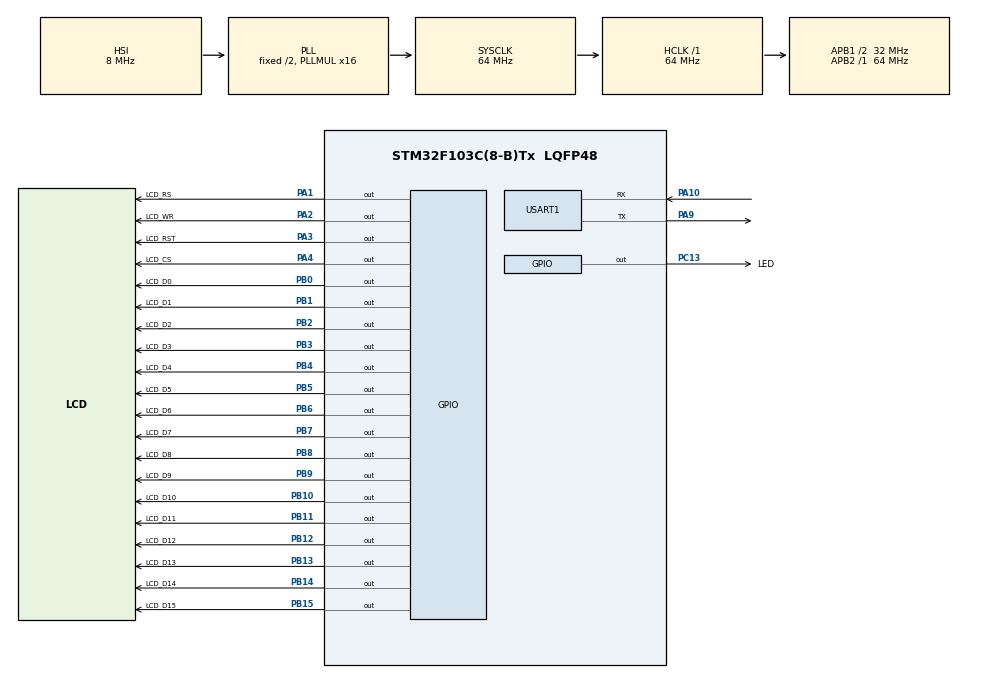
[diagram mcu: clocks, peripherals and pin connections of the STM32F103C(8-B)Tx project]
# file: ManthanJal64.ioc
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Mcu.Family=STM32F1
Mcu.Name=STM32F103C(8-B)Tx
Mcu.Package=LQFP48
NVIC.PriorityGroup=NVIC_PRIORITYGROUP_4
NVIC.USART1_IRQn=true\:0\:0\:false\:false\:true\:true\:true
PA1.GPIO_Label=LCD_RS
PA1.GPIO_Speed=GPIO_SPEED_FREQ_HIGH
PA1.Signal=GPIO_Output
PA10.Mode=Asynchronous
PA10.Signal=USART1_RX
PA13.Mode=Serial_Wire
PA13.Signal=SYS_JTMS-SWDIO
PA14.Mode=Serial_Wire
PA14.Signal=SYS_JTCK-SWCLK
PA2.GPIO_Label=LCD_WR
PA2.GPIO_Speed=GPIO_SPEED_FREQ_HIGH
PA2.Signal=GPIO_Output
PA3.GPIO_Label=LCD_RST
PA3.GPIO_Speed=GPIO_SPEED_FREQ_HIGH
PA3.Signal=GPIO_Output
PA4.GPIO_Label=LCD_CS
PA4.GPIO_Speed=GPIO_SPEED_FREQ_HIGH
PA4.Signal=GPIO_Output
PA9.Mode=Asynchronous
PA9.Signal=USART1_TX
PB0.GPIO_Label=LCD_D0
PB0.GPIO_Speed=GPIO_SPEED_FREQ_HIGH
PB0.Signal=GPIO_Output
PB1.GPIO_Label=LCD_D1
PB1.GPIO_Speed=GPIO_SPEED_FREQ_HIGH
PB1.Signal=GPIO_Output
PB10.GPIO_Label=LCD_D10
PB10.GPIO_Speed=GPIO_SPEED_FREQ_HIGH
PB10.Signal=GPIO_Output
PB11.GPIO_Label=LCD_D11
PB11.GPIO_Speed=GPIO_SPEED_FREQ_HIGH
PB11.Signal=GPIO_Output
PB12.GPIO_Label=LCD_D12
PB12.GPIO_Speed=GPIO_SPEED_FREQ_HIGH
PB12.Signal=GPIO_Output
PB13.GPIO_Label=LCD_D13
PB13.GPIO_Speed=GPIO_SPEED_FREQ_HIGH
PB13.Signal=GPIO_Output
PB14.GPIO_Label=LCD_D14
PB14.GPIO_Speed=GPIO_SPEED_FREQ_HIGH
PB14.Signal=GPIO_Output
PB15.GPIO_Label=LCD_D15
PB15.GPIO_Speed=GPIO_SPEED_FREQ_HIGH
PB15.Signal=GPIO_Output
PB2.GPIO_Label=LCD_D2
PB2.GPIO_Speed=GPIO_SPEED_FREQ_HIGH
PB2.Signal=GPIO_Output
PB3.GPIO_Label=LCD_D3
PB3.GPIO_Speed=GPIO_SPEED_FREQ_HIGH
PB3.Signal=GPIO_Output
PB4.GPIO_Label=LCD_D4
PB4.GPIO_Speed=GPIO_SPEED_FREQ_HIGH
PB4.Signal=GPIO_Output
PB5.GPIO_Label=LCD_D5
PB5.GPIO_Speed=GPIO_SPEED_FREQ_HIGH
PB5.Signal=GPIO_Output
PB6.GPIO_Label=LCD_D6
PB6.GPIO_Speed=GPIO_SPEED_FREQ_HIGH
PB6.Signal=GPIO_Output
PB7.GPIO_Label=LCD_D7
PB7.GPIO_Speed=GPIO_SPEED_FREQ_HIGH
PB7.Signal=GPIO_Output
PB8.GPIO_Label=LCD_D8
PB8.GPIO_Speed=GPIO_SPEED_FREQ_HIGH
PB8.Signal=GPIO_Output
PB9.GPIO_Label=LCD_D9
PB9.GPIO_Speed=GPIO_SPEED_FREQ_HIGH
PB9.Signal=GPIO_Output
PC13-TAMPER-RTC.GPIO_Label=LED
PC13-TAMPER-RTC.GPIO_Speed=GPIO_SPEED_FREQ_HIGH
PC13-TAMPER-RTC.Signal=GPIO_Output
ProjectManager.HeapSize=0x200
ProjectManager.StackSize=0x400
ProjectManager.TargetToolchain=STM32CubeIDE
RCC.AHBFreq_Value=64000000
RCC.APB1CLKDivider=RCC_HCLK_DIV2
RCC.APB1Freq_Value=32000000
RCC.APB1TimFreq_Value=64000000
RCC.APB2Freq_Value=64000000
RCC.APB2TimFreq_Value=64000000
RCC.HCLKFreq_Value=64000000
RCC.HSEDivPLL=RCC_HSE_PREDIV_DIV2
RCC.HSE_VALUE=16000000
RCC.PLLMUL=RCC_PLL_MUL16
RCC.SYSCLKFreq_VALUE=64000000
RCC.SYSCLKSource=RCC_SYSCLKSOURCE_PLLCLK
RCC.USBFreq_Value=64000000
USART1.VirtualMode=VM_ASYNC
board=custom

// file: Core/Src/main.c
/* USER CODE BEGIN Header */
/**
  ******************************************************************************
  * @file           : main.c
  * @brief          : Main program body
  ******************************************************************************
  * @attention
  *
  * <h2><center>&copy; Copyright (c) 2021 STMicroelectronics.
  * All rights reserved.</center></h2>
  *
  * This software component is licensed by ST under BSD 3-Clause license,
  * the "License"; You may not use this file except in compliance with the
  * License. You may obtain a copy of the License at:
  *                        opensource.org/licenses/BSD-3-Clause
  *
  ******************************************************************************
  */
/* USER CODE END Header */
#include "main.h"

/* USER CODE BEGIN Includes */
#include "lcd.h"
#include "gfx.h"
#include "../Fonts/FreeMonoBold18pt7b.h"
#include <math.h>

const unsigned char gImage_testImg[3208] = { 0X00,0X10,0X28,0X00,0X28,0X00,0X01,0X1B,
0XFF,0XFF,0XFF,0XFF,0XFF,0XFF,0XFF,0XFF,0XFF,0XFF,0XFF,0XFF,0XFF,0XFF,0XFF,0XFF,
0XFF,0XFF,0XDF,0XFF,0XFF,0XFF,0XFF,0XFF,0XFF,0XFF,0XFF,0XFF,0XFF,0XFF,0XFF,0XFF,
0XFF,0XFF,0XDE,0XFF,0XEF,0X7B,0X48,0X42,0XDF,0XFF,0XFF,0XFF,0XFF,0XFF,0XFF,0XFF,
0XFF,0XFF,0XFF,0XFF,0XFF,0XFF,0XFF,0XFF,0XFF,0XFF,0XFF,0XFF,0XFF,0XFF,0XFF,0XFF,
0XFF,0XFF,0XFF,0XFF,0XFF,0XFF,0XFF,0XFF,0XFF,0XFF,0XFF,0XFF,0XFF,0XFF,0XFF,0XFF,
0XFF,0XFF,0XFF,0XFF,0XFF,0XFF,0XFF,0XFF,0XFF,0XFF,0XFF,0XFF,0XFF,0XFF,0XFF,0XFF,
0XFF,0XFF,0XFF,0XFF,0XDF,0XFF,0XFF,0XFF,0XFF,0XFF,0XFF,0XFF,0XFF,0XFF,0XFF,0XFF,
0XF8,0XC5,0X18,0XC6,0X20,0X00,0X41,0X00,0X51,0X8C,0XFF,0XFF,0XFF,0XFF,0XFF,0XFF,
0XFF,0XFF,0XFF,0XFF,0XFF,0XFF,0XFF,0XFF,0XFF,0XFF,0XFF,0XFF,0XFF,0XFF,0XFF,0XFF,
0XFF,0XFF,0XFF,0XFF,0XFF,0XFF,0XFF,0XFF,0XFF,0XFF,0XFF,0XFF,0XFF,0XFF,0XFF,0XFF,
0XFF,0XFF,0XFF,0XFF,0XFF,0XFF,0XFF,0XFF,0XFF,0XFF,0XFF,0XFF,0XFF,0XFF,0XFF,0XFF,
0XFF,0XFF,0XDF,0XFF,0XFF,0XFF,0XFF,0XFF,0XFF,0XFF,0XFF,0XFF,0XFF,0XFF,0XFF,0XFF,
0X18,0XC6,0X18,0XBE,0X41,0X00,0X62,0X00,0X92,0X8C,0XFF,0XFF,0XDF,0XFF,0XFF,0XFF,
0XFF,0XFF,0XFF,0XFF,0XFF,0XFF,0XFF,0XFF,0XDF,0XFF,0XFF,0XFF,0XFF,0XFF,0XFF,0XFF,
0XFF,0XFF,0XFF,0XFF,0XFF,0XFF,0XFF,0XFF,0XFF,0XFF,0XFF,0XFF,0XFF,0XFF,0XFF,0XFF,
0XFF,0XFF,0XFF,0XFF,0XFF,0XFF,0XFF,0XFF,0XFF,0XFF,0XFF,0XFF,0XFF,0XFF,0XFF,0XFF,
0XFF,0XFF,0XFF,0XFF,0XFF,0XFF,0XFF,0XFF,0XDF,0XFF,0XFF,0XFF,0XFF,0XFF,0X9E,0XF7,
0X24,0X21,0X25,0X19,0X8B,0X3A,0X32,0X74,0X42,0X00,0XBB,0XD6,0X9A,0XD6,0XFF,0XFF,
0XFF,0XFF,0XFF,0XFF,0XFF,0XFF,0XFF,0XFF,0XFF,0XFF,0XFF,0XFF,0XFF,0XFF,0XFF,0XFF,
0XFF,0XFF,0XFF,0XFF,0XFF,0XFF,0XFF,0XFF,0XFF,0XFF,0XFF,0XFF,0XFF,0XFF,0XFE,0XFF,
0XFF,0XFF,0XFF,0XFF,0XFF,0XFF,0XFF,0XFF,0XFF,0XFF,0XFF,0XFF,0XFF,0XFF,0XFF,0XFF,
0XFF,0XFF,0XFF,0XFF,0XFF,0XFF,0XFF,0XFF,0XFF,0XFF,0XFF,0XFF,0XFF,0XFF,0X6D,0X6B,
0XE4,0X10,0X05,0X09,0XBD,0XAE,0XDE,0XB6,0XE9,0X29,0XA7,0X29,0XC7,0X39,0XDF,0XFF,
0XFF,0XFF,0XFF,0XFF,0XFF,0XFF,0XFF,0XFF,0XFF,0XFF,0XFF,0XFF,0XFF,0XFF,0XFF,0XFF,
0XFF,0XFF,0XFF,0XFF,0XFF,0XFF,0XFF,0XFF,0XFF,0XFF,0XFF,0XFF,0XFF,0XFF,0XFE,0XFF,
0XFF,0XFF,0XFF,0XFF,0XFF,0XFF,0XFF,0XFF,0XFF,0XFF,0XFF,0XFF,0XFF,0XFF,0XFF,0XFF,
0XFF,0XFF,0XFF,0XFF,0XFF,0XFF,0XFF,0XFF,0XFF,0XFF,0XDF,0XFF,0X18,0XC6,0X00,0X00,
0XF5,0X84,0X16,0X7D,0XDE,0XAE,0XDE,0XAE,0X5B,0XA6,0XA4,0X00,0X62,0X00,0X51,0X84,
0XFF,0XFF,0XFF,0XFF,0XFF,0XFF,0XFF,0XFF,0XFF,0XFF,0XFF,0XFF,0XDF,0XFF,0XFF,0XFF,
0XFF,0XFF,0XFF,0XFF,0XFF,0XFF,0XFF,0XFF,0XFF,0XFF,0XFF,0XFF,0XFF,0XFF,0XFE,0XFF,
0XFF,0XFF,0XFF,0XFF,0XFF,0XFF,0XFF,0XFF,0XFF,0XFF,0XFF,0XFF,0XFF,0XFF,0XFF,0XFF,
0XFF,0XFF,0XFF,0XFF,0XFF,0XFF,0XDF,0XFF,0XFF,0XFF,0X9E,0XEF,0X04,0X19,0XED,0X4A,
0XDD,0XB6,0XFF,0XAE,0X1F,0XAF,0XDF,0XA6,0XFE,0XAE,0X73,0X6C,0X72,0X74,0X41,0X00,
0XBA,0XD6,0XFF,0XFF,0XFF,0XFF,0XFF,0XFF,0X51,0X94,0X30,0X8C,0XFF,0XFF,0XFF,0XFF,
0XFF,0XFF,0XFF,0XFF,0XFF,0XFF,0XFF,0XFF,0XFF,0XFF,0XFF,0XFF,0XFF,0XFF,0XFF,0XFF,
0XFF,0XFF,0XFF,0XFF,0XFF,0XFF,0XFF,0XFF,0XFF,0XFF,0XFF,0XFF,0XFF,0XFF,0XFF,0XFF,
0XFF,0XFF,0XFF,0XFF,0XFF,0XFF,0XFF,0XFF,0XDF,0XFF,0XBF,0XF7,0X05,0X09,0X0E,0X43,
0XFF,0XAE,0XFF,0XA6,0X1F,0XA7,0XFF,0XA6,0XFF,0XAE,0X74,0X5C,0X53,0X64,0X63,0X00,
0XBB,0XCE,0XFF,0XFF,0XFF,0XFF,0XFF,0XFF,0X51,0X8C,0XB2,0X94,0XFF,0XFF,0XFF,0XFF,
0XFF,0XFF,0XFF,0XFF,0XFF,0XFF,0XFF,0XFF,0XFF,0XFF,0XFF,0XFF,0XFF,0XFF,0XFF,0XFF,
0XFF,0XFF,0XFF,0XFF,0XFF,0XFF,0XFF,0XFF,0XFF,0XFF,0XFF,0XFF,0XFF,0XFF,0XFF,0XFF,
0XFF,0XFF,0XDF,0XFF,0XFF,0XFF,0XFF,0XFF,0XFF,0XFF,0X0D,0X53,0X26,0X09,0X9C,0XA6,
0X1F,0XA7,0XFF,0X9E,0X3F,0XA7,0XFF,0XA6,0X1F,0XA7,0XFE,0XA6,0XFE,0XAE,0X4B,0X22,
0XA7,0X21,0XFF,0XFF,0XF8,0XBD,0X18,0XBE,0X42,0X00,0X22,0X00,0X39,0XC6,0XFF,0XFF,
0XFE,0XFF,0XDE,0XFF,0XFF,0XFF,0XFF,0XFF,0XFF,0XFF,0XFF,0XFF,0XFF,0XFF,0XFF,0XFF,
0XFF,0XFF,0XFF,0XFF,0XFF,0XFF,0XFF,0XFF,0XFF,0XFF,0XFF,0XFF,0XFF,0XFF,0XFF,0XFF,
0XFF,0XFF,0XFF,0XFF,0XFF,0XFF,0X95,0XB5,0XB7,0XB5,0X42,0X00,0X57,0X85,0X1E,0XAF,
0X1F,0XA7,0X1F,0XA7,0X1F,0XA7,0X1F,0XA7,0X3F,0XAF,0XFE,0XA6,0X1F,0XA7,0X5B,0X9E,
0XA3,0X00,0XCF,0X6B,0X05,0X19,0X26,0X11,0XEB,0X19,0XAA,0X11,0X67,0X21,0XBE,0XFF,
0XBD,0XFF,0XFE,0XFF,0XDF,0XFF,0XFF,0XFF,0XFF,0XFF,0XFF,0XFF,0XDF,0XFF,0XFF,0XFF,
0XFF,0XFF,0XFF,0XFF,0XFF,0XFF,0XFF,0XFF,0XFF,0XFF,0XFF,0XFF,0XFF,0XFF,0XFF,0XFF,
0XDF,0XFF,0XFF,0XFF,0X5D,0XF7,0XE3,0X18,0X04,0X11,0X2E,0X4B,0XFE,0XAE,0X1F,0XA7,
0X1E,0XA7,0X1F,0XA7,0X1F,0XA7,0XFF,0XA6,0XFE,0X9E,0X1F,0XA7,0X1F,0XA7,0XDE,0XA6,
0X93,0X74,0X21,0X00,0XA4,0X00,0XC6,0X00,0X57,0X4C,0X97,0X5C,0X85,0X00,0X8E,0X6B,
0XAE,0X73,0XFF,0XFF,0XFF,0XFF,0XFF,0XFF,0XFF,0XFF,0XDF,0XFF,0XFF,0XFF,0XFF,0XFF,
0XFF,0XFF,0XFF,0XFF,0XFF,0XFF,0XFF,0XFF,0XFF,0XFF,0XFF,0XFF,0XFF,0XFF,0XFF,0XFF,
0XFF,0XFF,0XFF,0XFF,0X0C,0X63,0X04,0X19,0X26,0X09,0XBC,0XAE,0XFE,0XA6,0X1F,0XA7,
0XFE,0XA6,0X1F,0XAF,0X1F,0XA7,0XFF,0XA6,0X1F,0XA7,0X1F,0XA7,0X1F,0XA7,0X3F,0XAF,
0X16,0X85,0X63,0X00,0X30,0X4B,0X73,0X3B,0XBA,0X4C,0X9A,0X4C,0X31,0X43,0X43,0X00,
0X21,0X00,0X38,0XC6,0XDF,0XFF,0XFF,0XFF,0XDF,0XFF,0XFF,0XFF,0XFF,0XFF,0XFF,0XFF,
0XFF,0XFF,0XFF,0XFF,0XFF,0XFF,0XFF,0XFF,0XFF,0XFF,0XFF,0XFF,0XFF,0XFF,0XFF,0XFF,
0XFF,0XFF,0XFF,0XFF,0XED,0X52,0X26,0X11,0X47,0X01,0XDD,0XAE,0X1F,0XA7,0X1F,0XA7,
0X1E,0XA7,0X1E,0XAF,0XFE,0XA6,0X1F,0XA7,0X1F,0XA7,0XFF,0X9E,0X1F,0XA7,0XDE,0XA6,
0X37,0X85,0X24,0X00,0X52,0X3B,0X95,0X33,0XBC,0X44,0XDB,0X4C,0X53,0X33,0X45,0X00,
0X23,0X00,0X5A,0XBE,0XFF,0XFF,0XFF,0XFF,0XFF,0XFF,0XFF,0XFF,0XDF,0XFF,0XFF,0XFF,
0XFF,0XFF,0XFF,0XFF,0XFF,0XFF,0XFF,0XFF,0XFF,0XFF,0XFF,0XFF,0XFF,0XFF,0XFF,0XFF,
0XFF,0XFF,0XB7,0XAD,0X22,0X00,0X57,0X85,0X78,0X7D,0XFF,0XAE,0X1F,0XA7,0XFF,0XA6,
0X1F,0XA7,0X1F,0XAF,0XFE,0XA6,0XFF,0XA6,0X3F,0XA7,0XFF,0X9E,0X1F,0XAF,0XBD,0XA6,
0X08,0X01,0X2D,0X1A,0XBA,0X5C,0XBB,0X4C,0XDC,0X44,0XBC,0X44,0X9A,0X54,0XEE,0X09,
0XEC,0X19,0XE6,0X00,0XBF,0XE7,0XFF,0XFF,0XFF,0XFF,0XFF,0XFF,0XFF,0XFF,0XFF,0XFF,
0XFF,0XFF,0XFF,0XFF,0XFF,0XFF,0XFF,0XFF,0XFF,0XFF,0XFF,0XFF,0XFE,0XFF,0XFF,0XFF,
0X7D,0XEF,0XE4,0X10,0X2F,0X4B,0XFE,0XB6,0XFF,0XA6,0XFF,0XA6,0XFF,0XA6,0X1F,0XAF,
0XFF,0XA6,0XFF,0XA6,0X1F,0XA7,0XFF,0XA6,0XFF,0X9E,0X3F,0XAF,0XFE,0XAE,0X0E,0X33,
0XE7,0X00,0X57,0X54,0X9A,0X54,0XBC,0X4C,0XBB,0X44,0X9B,0X44,0XBC,0X4C,0X59,0X4C,
0X36,0X54,0XC6,0X00,0XD0,0X6B,0XFF,0XFF,0XFF,0XFF,0XFE,0XFF,0XFF,0XFF,0XFF,0XFF,
0XFF,0XFF,0XFF,0XFF,0XFF,0XFF,0XFF,0XFF,0XFF,0XFF,0XFF,0XFF,0XFE,0XFF,0XFF,0XFF,
0XEB,0X52,0X26,0X11,0X9D,0XAE,0XFF,0XAE,0X1F,0XA7,0X1F,0XA7,0XFF,0XA6,0XFF,0XA6,
0XFF,0XA6,0X1F,0XA7,0X1F,0XA7,0X1F,0XA7,0X1F,0XA7,0X3B,0X8E,0XF9,0X9D,0X64,0X00,
0X31,0X3B,0X16,0X4C,0X7A,0X4C,0XBC,0X4C,0XDC,0X4C,0X9B,0X44,0XDD,0X4C,0X9C,0X4C,
0XBA,0X54,0X11,0X33,0X63,0X00,0X5D,0XE7,0XFF,0XFF,0XFE,0XFF,0XFF,0XFF,0XFF,0XFF,
0XFF,0XFF,0XFF,0XFF,0XFF,0XFF,0XFF,0XFF,0XFE,0XFF,0XFE,0XFF,0X95,0XB5,0X76,0XAD,
0X42,0X00,0X57,0X8D,0XDE,0XAE,0XFF,0XA6,0X1F,0XA7,0X1F,0XA7,0X1F,0XA7,0XFF,0XA6,
0XFF,0XA6,0X1F,0XA7,0X1F,0XA7,0X1F,0XA7,0X1E,0XA7,0X73,0X5C,0X31,0X6C,0XC4,0X00,
0X10,0X43,0X88,0X00,0X9A,0X54,0XDC,0X4C,0XBC,0X4C,0XBC,0X4C,0X9C,0X44,0XBD,0X4C,
0XBC,0X4C,0XB9,0X54,0XC6,0X00,0X14,0X9D,0XFF,0XFF,0XFF,0XFF,0XFF,0XFF,0XFF,0XFF,
0XFF,0XFF,0XFF,0XFF,0XFF,0XFF,0XFF,0XFF,0XFF,0XFF,0XFE,0XFF,0X75,0XAD,0X96,0XAD,
0X42,0X00,0XB9,0X8D,0XFE,0XAE,0X3F,0XAF,0XFE,0X9E,0X3F,0XA7,0XFF,0XA6,0X1F,0XA7,
0XFF,0XA6,0X1F,0XA7,0XFF,0X9E,0X3F,0XA7,0X3F,0XA7,0X32,0X5C,0X32,0X6C,0XC4,0X08,
0X0F,0X4B,0X87,0X00,0X9A,0X54,0X9B,0X44,0XBC,0X44,0XBC,0X44,0XBD,0X44,0XBD,0X44,
0X9C,0X3C,0X99,0X4C,0XC6,0X00,0X35,0XA5,0XFF,0XFF,0XFF,0XFF,0XFF,0XFF,0XFF,0XFF,
0XFF,0XFF,0XFF,0XFF,0XFF,0XFF,0XFF,0XFF,0XFF,0XFF,0X9D,0XEF,0XE3,0X18,0XC4,0X10,
0X2F,0X4B,0XDE,0XAE,0XFF,0XAE,0XFE,0XA6,0X1F,0XA7,0XFE,0XA6,0XFF,0XA6,0X1F,0XA7,
0X1F,0XAF,0X1F,0XA7,0X3F,0XA7,0XFF,0X9E,0X1F,0XAF,0X6F,0X43,0X0D,0X43,0X87,0X19,
0X6C,0X32,0X09,0X01,0X7A,0X4C,0XFD,0X4C,0XDC,0X44,0XDC,0X44,0XBC,0X3C,0XDC,0X44,
0XDC,0X44,0XBA,0X5C,0X48,0X11,0XF0,0X73,0XFF,0XFF,0XFF,0XFF,0XFF,0XFF,0XFF,0XFF,
0XFF,0XFF,0XDF,0XFF,0XFF,0XFF,0XFF,0XFF,0XFF,0XFF,0X51,0X84,0XC3,0X10,0XE4,0X08,
0X9C,0XB6,0X17,0X7D,0X0F,0X33,0XFE,0XA6,0XFE,0XA6,0X1F,0XA7,0XFF,0XA6,0XFF,0XA6,
0XDE,0X9E,0X1F,0XA7,0X1F,0X9F,0X1F,0X9F,0XFE,0XA6,0XB1,0X43,0XD1,0X5B,0X26,0X09,
0X30,0X4B,0X26,0X00,0X38,0X4C,0X39,0X3C,0X9B,0X44,0XBC,0X44,0XFC,0X44,0XBB,0X3C,
0XBB,0X4C,0X78,0X54,0X07,0X09,0X72,0X8C,0XFF,0XFF,0XFF,0XFF,0XFF,0XFF,0XFF,0XFF,
0XFF,0XFF,0XFF,0XFF,0XFF,0XFF,0XFF,0XFF,0XFF,0XFF,0X04,0X19,0XAF,0X63,0X90,0X5B,
0X9C,0XB6,0X06,0X01,0X2F,0X33,0X1F,0XAF,0XFF,0XA6,0XFF,0XA6,0X1F,0XA7,0X1F,0XA7,
0X1F,0XA7,0X1F,0XA7,0X1E,0X9F,0X3F,0XA7,0X3F,0XA7,0X78,0X7D,0X37,0X8D,0X44,0X00,
0XD4,0X5B,0X6B,0X01,0XE9,0X00,0X0B,0X01,0X58,0X4C,0X59,0X44,0XBC,0X4C,0X9B,0X4C,
0XBA,0X54,0XD4,0X4B,0X02,0X00,0X7A,0XCE,0XFF,0XFF,0XFF,0XFF,0XFF,0XFF,0XFF,0XFF,
0XFF,0XFF,0XDF,0XFF,0XFF,0XFF,0XFF,0XFF,0XDB,0XD6,0X21,0X00,0XF9,0XA5,0XF9,0X9D,
0X73,0X74,0X84,0X00,0X9D,0X9E,0X1F,0XA7,0XDF,0X9E,0X1F,0XA7,0X1F,0XA7,0XFF,0XA6,
0X1F,0XA7,0XFE,0X9E,0X3F,0XA7,0X1E,0XA7,0XFE,0XA6,0XFF,0XAE,0XDE,0XB6,0XAA,0X19,
0X29,0X01,0X16,0X5C,0X52,0X3B,0X53,0X33,0X70,0X12,0X71,0X12,0XBB,0X54,0X79,0X4C,
0X57,0X54,0X49,0X01,0X4A,0X3A,0XFF,0XFF,0XDF,0XFF,0XFF,0XFF,0XFF,0XFF,0XDF,0XFF,
0XFF,0XFF,0XFF,0XFF,0XFF,0XFF,0XFF,0XFF,0XBB,0XD6,0X21,0X00,0X3B,0X9E,0X1A,0X96,
0X52,0X6C,0X63,0X00,0XDD,0XA6,0X3F,0XA7,0X1F,0XA7,0X1F,0XA7,0XDF,0X9E,0X1F,0XAF,
0X3F,0XAF,0XFF,0XA6,0XFF,0XA6,0X3F,0XA7,0XFE,0X9E,0X3F,0XAF,0XDE,0XA6,0X0B,0X12,
0X49,0X01,0X35,0X5C,0X33,0X33,0X33,0X33,0X70,0X1A,0X50,0X12,0X99,0X5C,0X37,0X54,
0X36,0X5C,0X27,0X01,0X2A,0X3A,0XFF,0XFF,0XFF,0XFF,0XFF,0XFF,0XFF,0XFF,0XFF,0XFF,
0XFF,0XFF,0XFF,0XFF,0XFF,0XFF,0XFF,0XFF,0XF4,0X9C,0XE5,0X08,0XDE,0XAE,0XFE,0XAE,
0X6B,0X32,0XAC,0X3A,0XDE,0XA6,0X1F,0XA7,0X1F,0XA7,0XFF,0XA6,0X1F,0XA7,0X1F,0XA7,
0XFF,0XA6,0X1F,0XAF,0X1F,0XA7,0X1F,0XA7,0X1E,0XA7,0X1E,0XA7,0X1F,0XA7,0X3B,0X96,
0X28,0X01,0XC7,0X00,0X11,0X33,0X31,0X33,0X15,0X54,0X36,0X5C,0XF1,0X32,0XE9,0X00,
0XE7,0X00,0XE6,0X08,0X5E,0XE7,0XFF,0XFF,0XFF,0XFF,0XFF,0XFF,0XFF,0XFF,0XFF,0XFF,
0XDF,0XFF,0XFF,0XFF,0XFF,0XFF,0XFF,0XFF,0X31,0X7C,0XA8,0X21,0XFE,0XAE,0XFE,0XAE,
0X26,0X01,0X31,0X64,0XFE,0XA6,0X3F,0XA7,0XFF,0XA6,0X1F,0XA7,0X1F,0XA7,0X1F,0XA7,
0XFF,0XA6,0X1F,0XA7,0X1F,0XA7,0X1F,0XA7,0X1F,0XA7,0XFF,0XA6,0XFF,0XA6,0XFE,0XAE,
0X7C,0X9E,0X0E,0X33,0X84,0X00,0X84,0X00,0X23,0X00,0X43,0X00,0X84,0X00,0X27,0X09,
0X06,0X09,0X8B,0X42,0XFF,0XFF,0XFF,0XFF,0XFF,0XFF,0XFF,0XFF,0XFF,0XFF,0XFF,0XFF,
0XFF,0XFF,0XFF,0XFF,0XFF,0XFF,0XFF,0XF7,0XF0,0X73,0X09,0X2A,0XFE,0XAE,0XFE,0XAE,
0XC4,0X00,0X93,0X74,0XFE,0XAE,0XFF,0X9E,0X1F,0XA7,0X1F,0XA7,0X1F,0XA7,0X1F,0X9F,
0X1F,0XA7,0XFF,0XA6,0X1F,0XA7,0X1F,0XA7,0X1F,0XA7,0X1F,0XA7,0XFF,0XA6,0XFF,0XA6,
0XDE,0XA6,0XFD,0XAE,0XDC,0XB6,0XBB,0XB6,0XD8,0X95,0XF9,0X9D,0XDC,0XBE,0X4E,0X4B,
0X2E,0X53,0X09,0X3A,0XFF,0XFF,0XFF,0XFF,0XFF,0XFF,0XFF,0XFF,0XFF,0XFF,0XFF,0XFF,
0XFF,0XFF,0XFF,0XFF,0XFF,0XFF,0XFF,0XFF,0X72,0X8C,0X46,0X11,0XDE,0XAE,0X1E,0XAF,
0X25,0X01,0X52,0X64,0XFE,0XA6,0X3F,0XA7,0XFE,0XA6,0XFE,0XA6,0X3F,0XA7,0XFF,0X9E,
0X1F,0XA7,0X1F,0XA7,0X1F,0XA7,0X1F,0XA7,0X1E,0XA7,0X1F,0XA7,0X1F,0XA7,0XFF,0XA6,
0X1F,0XAF,0XFF,0XAE,0XFE,0XAE,0XDD,0XA6,0X1E,0XA7,0XFE,0XA6,0XFD,0XAE,0XAC,0X32,
0XCC,0X4A,0XEC,0X52,0XFF,0XFF,0XFF,0XFF,0XDF,0XFF,0XFF,0XFF,0XFF,0XFF,0XFF,0XFF,
0XFF,0XFF,0XFF,0XFF,0XDF,0XF7,0XFF,0XFF,0X92,0X8C,0X46,0X19,0XFE,0XB6,0XDE,0XAE,
0X25,0X01,0X31,0X64,0XFE,0XAE,0X1F,0XA7,0XFF,0XA6,0X1F,0XA7,0XFF,0X9E,0X1F,0XA7,
0X1F,0XA7,0X1F,0XA7,0X1F,0XA7,0X1F,0XA7,0X1E,0XA7,0X1F,0XA7,0X1F,0XA7,0XFF,0XA6,
0XFF,0XA6,0XDF,0XA6,0XFF,0XA6,0X1F,0XA7,0X3F,0XA7,0X1F,0XA7,0XFE,0XAE,0XCC,0X3A,
0XAB,0X42,0XCB,0X52,0XDF,0XFF,0XFF,0XFF,0XFF,0XFF,0XFF,0XFF,0XFF,0XFF,0XFF,0XFF,
0XFF,0XFF,0XFF,0XFF,0XFF,0XFF,0XFF,0XFF,0X55,0XAD,0XA3,0X08,0XBD,0XAE,0XDD,0XAE,
0X6A,0X32,0XAB,0X3A,0XFE,0XAE,0XFF,0XA6,0XFF,0XA6,0X3F,0XAF,0XFE,0X9E,0X1F,0X9F,
0X1F,0XA7,0X1F,0XA7,0X1F,0XA7,0X1F,0XA7,0XFF,0XA6,0XFF,0XA6,0XFF,0XA6,0XFF,0XA6,
0X1F,0XA7,0XFF,0XA6,0X1F,0XA7,0X1F,0XA7,0XFF,0XA6,0XDF,0XA6,0X1E,0XB7,0XC9,0X19,
0XA7,0X29,0X10,0X84,0XFF,0XFF,0XDF,0XFF,0XFF,0XFF,0XDF,0XFF,0XFF,0XFF,0XFF,0XFF,
0XFF,0XFF,0XDF,0XFF,0XFF,0XFF,0XFF,0XFF,0X7D,0XEF,0X01,0X00,0X57,0X8D,0X57,0X85,
0X52,0X6C,0XC4,0X00,0XBD,0XAE,0XFF,0XA6,0X1F,0XAF,0XFF,0XA6,0X1F,0XA7,0X3F,0XA7,
0X1F,0XA7,0X1F,0XA7,0X1F,0XA7,0X1F,0XA7,0XFF,0XA6,0XFF,0XA6,0XFF,0XA6,0XFF,0XA6,
0X1F,0XA7,0XFF,0XA6,0X1F,0XA7,0XFF,0XA6,0X1F,0XAF,0XFF,0XAE,0X5B,0XA6,0X63,0X00,
0X41,0X00,0XB6,0XB5,0XFF,0XFF,0XFF,0XFF,0XFF,0XFF,0XFF,0XFF,0XFF,0XFF,0XFF,0XFF,
0XFF,0XFF,0XFF,0XFF,0XFF,0XFF,0XFF,0XFF,0XFF,0XFF,0X09,0X3A,0XAC,0X42,0XCC,0X3A,
0X7B,0XAE,0X05,0X01,0X91,0X4B,0XDE,0XAE,0XFE,0XA6,0X1F,0XA7,0X1F,0XA7,0XFF,0X9E,
0X1F,0XA7,0X1F,0XA7,0X1F,0XA7,0X1F,0XA7,0X1E,0XA7,0X1F,0XA7,0X1F,0XA7,0X1F,0XA7,
0X1F,0XA7,0X3F,0XA7,0XFF,0X9E,0X1F,0XA7,0X1F,0XA7,0X1E,0XAF,0X52,0X6C,0X82,0X00,
0X62,0X08,0XFF,0XFF,0XFF,0XFF,0XFF,0XFF,0XFF,0XFF,0XFF,0XFF,0XFF,0XFF,0XFF,0XFF,
0XFF,0XFF,0XFF,0XFF,0XFF,0XFF,0XFF,0XFF,0XFF,0XFF,0X96,0XAD,0X42,0X00,0X42,0X00,
0XD8,0X9D,0XB4,0X74,0X64,0X00,0XF6,0X74,0XF6,0X6C,0XFE,0XA6,0X1F,0XA7,0X1F,0XA7,
0X1F,0XA7,0X1F,0XA7,0X1F,0XA7,0X1F,0XA7,0X1E,0XA7,0X1E,0XA7,0X1F,0XA7,0X1F,0XA7,
0X1F,0XA7,0X1F,0X9F,0X3F,0XA7,0X1E,0X9F,0X1E,0XA7,0XBC,0XA6,0XE4,0X00,0X30,0X7C,
0X10,0X7C,0XFF,0XFF,0XFF,0XFF,0XFF,0XFF,0XFF,0XFF,0XFF,0XFF,0XFF,0XFF,0XFF,0XFF,
0XFF,0XFF,0XFF,0XFF,0XFF,0XFF,0XFF,0XFF,0XFF,0XFF,0XB7,0XAD,0X21,0X00,0X42,0X00,
0X97,0X9D,0XB4,0X7C,0X43,0X00,0XB5,0X7C,0XD5,0X74,0X1E,0XB7,0X1F,0XA7,0XFF,0X9E,
0X1F,0XA7,0X1F,0X9F,0X3F,0XA7,0X1E,0XA7,0X1E,0XA7,0XFE,0XA6,0XFE,0XA6,0XFF,0XA6,
0X1F,0XA7,0XFF,0X9E,0X1F,0X9F,0X1F,0XA7,0X1E,0XAF,0X9B,0XAE,0X04,0X09,0X10,0X7C,
0X10,0X84,0XFF,0XFF,0XFF,0XFF,0XFF,0XFF,0XFF,0XFF,0XFF,0XFF,0XFF,0XFF,0XFF,0XFF,
0XFF,0XFF,0XFF,0XFF,0XFF,0XFF,0XFF,0XFF,0XFF,0XFF,0XFF,0XFF,0XE8,0X31,0X08,0X32,
0XC8,0X21,0X9B,0XBE,0XB0,0X5B,0X63,0X00,0X64,0X00,0XD2,0X53,0XBD,0XA6,0X1F,0XAF,
0XFF,0XA6,0XFF,0XA6,0XFE,0XA6,0XFE,0XA6,0XFE,0XA6,0X3F,0XAF,0XFE,0XA6,0X1F,0XA7,
0XFF,0XA6,0X1F,0XA7,0X3F,0XA7,0XFE,0XA6,0XDD,0XAE,0X0D,0X43,0XA3,0X08,0XBE,0XF7,
0X9E,0XF7,0XFF,0XFF,0XDF,0XFF,0XFF,0XFF,0XFF,0XFF,0XFF,0XFF,0XFF,0XFF,0XFF,0XFF,
0XBF,0XFF,0XFF,0XFF,0XFF,0XFF,0XFF,0XFF,0XFF,0XFF,0XDF,0XFF,0X1B,0XE7,0X1C,0XDF,
0XC3,0X08,0XEC,0X42,0XDC,0XB6,0X74,0X64,0X74,0X5C,0XE6,0X00,0X27,0X09,0X33,0X64,
0XFF,0XB6,0XDF,0XAE,0XFF,0XAE,0XFF,0XAE,0XFE,0XA6,0X1F,0XA7,0X1F,0X9F,0X1F,0X9F,
0X1F,0XA7,0XFE,0XA6,0XFE,0XAE,0XDD,0XB6,0X11,0X6C,0X42,0X00,0X18,0XBE,0XFF,0XFF,
0XFF,0XFF,0XFF,0XFF,0XFF,0XFF,0XFF,0XFF,0XFF,0XFF,0XFF,0XFF,0XFF,0XFF,0XFF,0XFF,
0XFF,0XFF,0XFF,0XFF,0XDF,0XFF,0XFF,0XFF,0XFF,0XFF,0XFF,0XFF,0XFF,0XFF,0XFF,0XFF,
0X39,0XBE,0XA3,0X00,0X4A,0X2A,0X9C,0XAE,0XBC,0XAE,0X3B,0XA6,0X90,0X53,0XEE,0X3A,
0XF7,0X74,0X38,0X75,0X2C,0X1A,0XDF,0XA6,0X1F,0XAF,0XFF,0X9E,0X3F,0XA7,0X1F,0XA7,
0X3F,0XAF,0XFE,0XAE,0X4F,0X4B,0X4E,0X53,0X21,0X00,0XF4,0X9C,0XFF,0XFF,0XFF,0XFF,
0XDF,0XFF,0XFF,0XFF,0XFF,0XFF,0XDF,0XFF,0XFF,0XFF,0XFF,0XFF,0XDF,0XFF,0XFF,0XFF,
0XFF,0XF7,0XFF,0XFF,0XFF,0XFF,0XFF,0XFF,0XFF,0XFF,0XDF,0XFF,0XFF,0XFF,0XFF,0XFF,
0XDF,0XFF,0XBB,0XD6,0X25,0X21,0XC4,0X08,0XC4,0X00,0X52,0X6C,0XBC,0XAE,0X1E,0XAF,
0XBD,0X9E,0XDE,0X9E,0XFB,0X85,0X1F,0XA7,0XFF,0X9E,0X3F,0XA7,0XFE,0X9E,0X1E,0XA7,
0X16,0X6D,0X88,0X09,0XA4,0X00,0X83,0X08,0X96,0XB5,0XFF,0XFF,0XFF,0XFF,0XFF,0XFF,
0XFF,0XFF,0XFF,0XFF,0XFF,0XFF,0XFF,0XFF,0XFF,0XFF,0XFF,0XFF,0XFF,0XFF,0XFF,0XFF,
0XFF,0XF7,0XFF,0XFF,0XFF,0XFF,0XFF,0XFF,0XFF,0XFF,0XFF,0XFF,0XFF,0XFF,0XFF,0XFF,
0XFF,0XFF,0X9B,0XD6,0X04,0X21,0XC3,0X10,0XE4,0X10,0X51,0X6C,0XFC,0XB6,0XFD,0XAE,
0XDD,0XA6,0XBD,0X9E,0X1A,0X8E,0XFE,0XAE,0XFE,0XA6,0XFE,0XAE,0X1E,0XAF,0XDD,0XAE,
0X15,0X85,0X66,0X19,0X83,0X08,0X62,0X08,0XB7,0XBD,0XFF,0XFF,0XDF,0XFF,0XFF,0XFF,
0XFF,0XFF,0XFF,0XFF,0XFF,0XFF,0XFF,0XFF,0XDF,0XFF,0XFF,0XFF,0XFF,0XFF,0XFF,0XFF,
0XFF,0XFF,0XFF,0XFF,0XFF,0XFF,0XFF,0XFF,0XFF,0XFF,0XFF,0XFF,0XFF,0XFF,0XFF,0XFF,
0XFF,0XFF,0XFF,0XFF,0XBF,0XF7,0X10,0X7C,0X10,0X7C,0X62,0X00,0XA3,0X00,0X8B,0X3A,
0X10,0X64,0XF0,0X5B,0XD4,0X7C,0XF5,0X7C,0X32,0X6C,0X0E,0X4B,0XED,0X4A,0XE5,0X10,
0X21,0X00,0X0C,0X63,0X1C,0XE7,0X3C,0XEF,0XFF,0XFF,0XFF,0XFF,0XFF,0XFF,0XFF,0XFF,
0XFF,0XFF,0XFF,0XFF,0XFF,0XFF,0XFF,0XFF,0XFF,0XFF,0XFF,0XFF,0XDF,0XFF,0XFF,0XFF,
0XDF,0XFF,0XFF,0XFF,0XFF,0XFF,0XFF,0XFF,0XFF,0XFF,0XFF,0XFF,0XFF,0XFF,0XFF,0XFF,
0XFF,0XFF,0XFF,0XFF,0XFF,0XF7,0XFF,0XF7,0XFF,0XF7,0X9E,0XEF,0X15,0X9D,0XAB,0X4A,
0X65,0X19,0XA6,0X19,0X82,0X00,0X62,0X00,0X26,0X19,0X4A,0X3A,0X09,0X3A,0X93,0X94,
0XFC,0XE6,0XFF,0XFF,0XFF,0XFF,0XFF,0XFF,0XFF,0XFF,0XFF,0XFF,0XFF,0XFF,0XFF,0XFF,
0XFF,0XFF,0XFF,0XFF,0XFF,0XFF,0XFF,0XFF,0XFF,0XFF,0XFF,0XFF,0XFF,0XFF,0XFF,0XFF,
};

/* USER CODE END Includes */

UART_HandleTypeDef huart1;

void SystemClock_Config(void);
static void MX_GPIO_Init(void);
static void MX_USART1_UART_Init(void);

/* USER CODE BEGIN 0 */

int crossX1=228,crossY1=151,crossX2=261,crossY2=186;
float angleF=0,angleValueX=0,angleValueY=0;
int aniAngle[8]={15,30,45,60,75,90};
int pHColor[4]={LIGHTGREEN,0x658C,0x36B9,BLUE};
uint16_t aniAnglePos=0;

void ClearprocessAni(int angle){

	gfx_drawLine(crossX1, crossY1, crossX2, crossY2, RED);
	gfx_drawLine(crossX1, crossY1+1, crossX2, crossY2+1, RED);
	gfx_drawLine(crossX1, crossY1+1, crossX2, crossY2+1, RED);

	angleF=((float)angle/180.0)*3.14;

	angleValueX=25*cos(angleF);
	angleValueY=25*sin(angleF);

	crossX1=245+angleValueX;
	crossY1=170+angleValueY;
	crossX2=245-angleValueX;
	crossY2=170-angleValueY;

	gfx_drawLine(crossX1, crossY1, crossX2, crossY2, RED);
	gfx_drawLine(crossX1, crossY1+1, crossX2, crossY2+1, RED);
	gfx_drawLine(crossX1, crossY1+1, crossX2, crossY2+1, RED);

}

void processAni(int angle,int pos){
	angleF=((float)angle/180.0)*3.14;

	angleValueX=25*cos(angleF);
	angleValueY=25*sin(angleF);

	crossX1=245+angleValueX;
	crossY1=170+angleValueY;
	crossX2=245-angleValueX;
	crossY2=170-angleValueY;

	//gfx_fillCircle(245, 170, 25, RED);

	gfx_drawLine(crossX1, crossY1, crossX2, crossY2, WHITE);
	gfx_drawLine(crossX1, crossY1+1, crossX2, crossY2+1, WHITE);
	gfx_drawLine(crossX1, crossY1+1, crossX2, crossY2+1, WHITE);

	angleF=(((float)angle+90.0)/180.0)*3.14;

	angleValueX=25*cos(angleF);
	angleValueY=25*sin(angleF);

	crossX1=245+angleValueX;
	crossY1=170+angleValueY;
	crossX2=245-angleValueX;
	crossY2=170-angleValueY;

	gfx_drawLine(crossX1, crossY1, crossX2, crossY2, WHITE);
	gfx_drawLine(crossX1, crossY1+1, crossX2, crossY2+1, WHITE);
	gfx_drawLine(crossX1, crossY1+1, crossX2, crossY2+1, WHITE);

	static int test=0;
	if(test==0){
		test=1;
		gfx_drawLine(238, 240, 238, 245, BLACK);
		gfx_drawLine(238, 250, 238, 255, BLACK);
		gfx_drawLine(238, 260, 238, 265, BLACK);

		gfx_drawLine(246, 235, 246, 240, BLACK);
		gfx_drawLine(246, 245, 246, 250, BLACK);
		gfx_drawLine(246, 255, 246, 260, BLACK);

		gfx_drawLine(254, 240, 254, 245, BLACK);
		gfx_drawLine(254, 250, 254, 255, BLACK);
		gfx_drawLine(254, 260, 254, 265, BLACK);

		gfx_drawLine(238, 235, 238, 240, pHColor[pos]);
		gfx_drawLine(238, 245, 238, 250, pHColor[pos]);
		gfx_drawLine(238, 255, 238, 260, pHColor[pos]);

		gfx_drawLine(246, 240, 246, 245, pHColor[pos]);
		gfx_drawLine(246, 250, 246, 255, pHColor[pos]);
		gfx_drawLine(246, 260, 246, 266, pHColor[pos]);

		gfx_drawLine(254, 235, 254, 240, pHColor[pos]);
		gfx_drawLine(254, 245, 254, 250, pHColor[pos]);
		gfx_drawLine(254, 255, 254, 260, pHColor[pos]);
	}
	else{
		test=0;
		gfx_drawLine(238, 235, 238, 240, BLACK);
		gfx_drawLine(238, 245, 238, 250, BLACK);
		gfx_drawLine(238, 255, 238, 260, BLACK);

		gfx_drawLine(246, 240, 246, 245, BLACK);
		gfx_drawLine(246, 250, 246, 255, BLACK);
		gfx_drawLine(246, 260, 246, 266, BLACK);

		gfx_drawLine(254, 235, 254, 240, BLACK);
		gfx_drawLine(254, 245, 254, 250, BLACK);
		gfx_drawLine(254, 255, 254, 260, BLACK);

		gfx_drawLine(238, 240, 238, 245, pHColor[pos]);
		gfx_drawLine(238, 250, 238, 255, pHColor[pos]);
		gfx_drawLine(238, 260, 238, 265, pHColor[pos]);

		gfx_drawLine(246, 235, 246, 240, pHColor[pos]);
		gfx_drawLine(246, 245, 246, 250, pHColor[pos]);
		gfx_drawLine(246, 255, 246, 260, pHColor[pos]);

		gfx_drawLine(254, 240, 254, 245, pHColor[pos]);
		gfx_drawLine(254, 250, 254, 255, pHColor[pos]);
		gfx_drawLine(254, 260, 254, 265, pHColor[pos]);
	}

}

void destroyTap(int pos){

	switch(pos){
			case 0: gfx_FillRectWithAngle(220,150,40,10,210, BLACK);
					gfx_btn_initButton(120,120,150,80,BLACK,LIGHTGREEN,WHITE,"pH 8",1);
					gfx_btn_drawButton(0);
					break;
			case 1: gfx_FillRectWithAngle(265,150,40,10,330, BLACK);
					gfx_btn_initButton(370,120,150,80,BLACK,0x658C,WHITE,"pH 9",1);
					gfx_btn_drawButton(0);
					break;
			case 2: gfx_FillRectWithAngle(210,180,40,10,150, BLACK);
		  	  		gfx_btn_initButton(120,230,150,80,BLACK,0x36B9,WHITE,"pH 10",1);
			  	  	gfx_btn_drawButton(0);
			  	  	break;
			case 3: gfx_FillRectWithAngle(270,190,40,10,30, BLACK);
					gfx_btn_initButton(370,230,150,80,BLACK,BLUE,WHITE,"pH 11",1);
					gfx_btn_drawButton(0);
					break;
			default: break;
		}
}

void createTap(uint8_t pos){
	gfx_fillCircle(245, 170, 35, pHColor[pos]);
	gfx_drawCircle(245, 170, 25, WHITE);
	gfx_fillCircle(245, 170, 25, RED);
	gfx_drawCircle(245, 170, 26, WHITE);
	gfx_fillRoundRect(235, 200, 22, 30, 2,pHColor[pos] );

	gfx_drawLine(225,310,265,310, WHITE);
	gfx_drawLine(225,310,215,270, WHITE);
	gfx_drawLine(265,310,275,270, WHITE);

	int xr=0;
	for(int i=0;i<5;i++){
		for(int j=0;j<5;j++){
			gfx_drawLine(225-i,309-xr,265+i,309-xr, pHColor[pos]);
			xr++;
		}
	}

	gfx_drawEllipse(245, 270, 30, 3, WHITE);

	switch(pos){
			case 0: gfx_FillRectWithAngle(220,150,40,10,210, pHColor[pos]); break;
			case 1: gfx_FillRectWithAngle(265,150,40,10,330, pHColor[pos]); break;
			case 2: gfx_FillRectWithAngle(210,180,40,10,150, pHColor[pos]); break;
			case 3: gfx_FillRectWithAngle(270,190,40,10,30, pHColor[pos]); break;
			default: break;
		}

}

void tapLoop(uint8_t pos){
	ClearprocessAni(aniAngle[aniAnglePos]);
	aniAnglePos++;
	if(aniAnglePos>=6) aniAnglePos=0;
	processAni(aniAngle[aniAnglePos],pos);

}

/* USER CODE END 0 */

int main(void)
{

  /* MCU Configuration--------------------------------------------------------*/

  /* Reset of all peripherals, Initializes the Flash interface and the Systick. */
  HAL_Init();

  /* Configure the system clock */
  SystemClock_Config();

  /* Initialize all configured peripherals */
  MX_GPIO_Init();
  MX_USART1_UART_Init();
  /* USER CODE BEGIN 2 */
  LCD_Init();

  gfx_init(LCD_H,LCD_W);
  gfx_fillScreen(BLACK);
  gfx_setFont(&FreeMonoBold18pt7b);
  gfx_setTextColor(WHITE);
  gfx_setCursor(160, 40);
  gfx_print("Manthan Jal");
  gfx_drawRGBBitmap1(100,10,gImage_testImg,40,40);
  gfx_btn_initButton(120,120,150,80,BLACK,LIGHTGREEN,WHITE,"pH 8",1);
  gfx_btn_drawButton(0);
  gfx_btn_initButton(370,120,150,80,BLACK,0x658C,WHITE,"pH 9",1);
  gfx_btn_drawButton(0);
  gfx_btn_initButton(120,230,150,80,BLACK,0x36B9,WHITE,"pH 10",1);
  gfx_btn_drawButton(0);
  gfx_btn_initButton(370,230,150,80,BLACK,BLUE,WHITE,"pH 11",1);
  gfx_btn_drawButton(0);

  long ts=0;
  int post=0;
  createTap(post);
  /* USER CODE END 2 */

  /* Infinite loop */
  while (1)
  {

    /* USER CODE BEGIN 3 */
	//HAL_GPIO_TogglePin(LED_GPIO_Port, LED_Pin);

	if(HAL_GetTick()-ts>6000){
		ts=HAL_GetTick();
		destroyTap(post);
		post++;
		if(post>=4){
			post=0;
		}
		createTap(post);

	}
	tapLoop(post);
	HAL_Delay(200);
	//main_test();
	//Test_Color();

	//Test_Triangle();
	//English_Font_test();
	//Chinese_Font_test();
	//Pic_test();

	//Rotate_Test();
  }
  /* USER CODE END 3 */
}

void SystemClock_Config(void)
{
  RCC_OscInitTypeDef RCC_OscInitStruct = {0};
  RCC_ClkInitTypeDef RCC_ClkInitStruct = {0};

  /** Initializes the RCC Oscillators according to the specified parameters
  * in the RCC_OscInitTypeDef structure.
  */
  RCC_OscInitStruct.OscillatorType = RCC_OSCILLATORTYPE_HSI;
  RCC_OscInitStruct.HSIState = RCC_HSI_ON;
  RCC_OscInitStruct.HSICalibrationValue = RCC_HSICALIBRATION_DEFAULT;
  RCC_OscInitStruct.PLL.PLLState = RCC_PLL_ON;
  RCC_OscInitStruct.PLL.PLLSource = RCC_PLLSOURCE_HSI_DIV2;
  RCC_OscInitStruct.PLL.PLLMUL = RCC_PLL_MUL16;
  if (HAL_RCC_OscConfig(&RCC_OscInitStruct) != HAL_OK)
  {
    Error_Handler();
  }
  /** Initializes the CPU, AHB and APB buses clocks
  */
  RCC_ClkInitStruct.ClockType = RCC_CLOCKTYPE_HCLK|RCC_CLOCKTYPE_SYSCLK
                              |RCC_CLOCKTYPE_PCLK1|RCC_CLOCKTYPE_PCLK2;
  RCC_ClkInitStruct.SYSCLKSource = RCC_SYSCLKSOURCE_PLLCLK;
  RCC_ClkInitStruct.AHBCLKDivider = RCC_SYSCLK_DIV1;
  RCC_ClkInitStruct.APB1CLKDivider = RCC_HCLK_DIV2;
  RCC_ClkInitStruct.APB2CLKDivider = RCC_HCLK_DIV1;

  if (HAL_RCC_ClockConfig(&RCC_ClkInitStruct, FLASH_LATENCY_2) != HAL_OK)
  {
    Error_Handler();
  }
}

static void MX_USART1_UART_Init(void)
{

  huart1.Instance = USART1;
  huart1.Init.BaudRate = 115200;
  huart1.Init.WordLength = UART_WORDLENGTH_8B;
  huart1.Init.StopBits = UART_STOPBITS_1;
  huart1.Init.Parity = UART_PARITY_NONE;
  huart1.Init.Mode = UART_MODE_TX_RX;
  huart1.Init.HwFlowCtl = UART_HWCONTROL_NONE;
  huart1.Init.OverSampling = UART_OVERSAMPLING_16;
  if (HAL_UART_Init(&huart1) != HAL_OK)
  {
    Error_Handler();
  }

}

static void MX_GPIO_Init(void)
{
  GPIO_InitTypeDef GPIO_InitStruct = {0};

  /* GPIO Ports Clock Enable */
  __HAL_RCC_GPIOC_CLK_ENABLE();
  __HAL_RCC_GPIOA_CLK_ENABLE();
  __HAL_RCC_GPIOB_CLK_ENABLE();

  /*Configure GPIO pin Output Level */
  HAL_GPIO_WritePin(LED_GPIO_Port, LED_Pin, GPIO_PIN_RESET);

  /*Configure GPIO pin Output Level */
  HAL_GPIO_WritePin(GPIOA, LCD_RS_Pin|LCD_WR_Pin|LCD_RST_Pin|LCD_CS_Pin, GPIO_PIN_RESET);

  /*Configure GPIO pin Output Level */
  HAL_GPIO_WritePin(GPIOB, LCD_D0_Pin|LCD_D1_Pin|LCD_D2_Pin|LCD_D10_Pin
                          |LCD_D11_Pin|LCD_D12_Pin|LCD_D13_Pin|LCD_D14_Pin
                          |LCD_D15_Pin|LCD_D3_Pin|LCD_D4_Pin|LCD_D5_Pin
                          |LCD_D6_Pin|LCD_D7_Pin|LCD_D8_Pin|LCD_D9_Pin, GPIO_PIN_RESET);

  /*Configure GPIO pin : LED_Pin */
  GPIO_InitStruct.Pin = LED_Pin;
  GPIO_InitStruct.Mode = GPIO_MODE_OUTPUT_PP;
  GPIO_InitStruct.Pull = GPIO_NOPULL;
  GPIO_InitStruct.Speed = GPIO_SPEED_FREQ_HIGH;
  HAL_GPIO_Init(LED_GPIO_Port, &GPIO_InitStruct);

  /*Configure GPIO pins : LCD_RS_Pin LCD_WR_Pin LCD_RST_Pin LCD_CS_Pin */
  GPIO_InitStruct.Pin = LCD_RS_Pin|LCD_WR_Pin|LCD_RST_Pin|LCD_CS_Pin;
  GPIO_InitStruct.Mode = GPIO_MODE_OUTPUT_PP;
  GPIO_InitStruct.Pull = GPIO_NOPULL;
  GPIO_InitStruct.Speed = GPIO_SPEED_FREQ_HIGH;
  HAL_GPIO_Init(GPIOA, &GPIO_InitStruct);

  /*Configure GPIO pins : LCD_D0_Pin LCD_D1_Pin LCD_D2_Pin LCD_D10_Pin
                           LCD_D11_Pin LCD_D12_Pin LCD_D13_Pin LCD_D14_Pin
                           LCD_D15_Pin LCD_D3_Pin LCD_D4_Pin LCD_D5_Pin
                           LCD_D6_Pin LCD_D7_Pin LCD_D8_Pin LCD_D9_Pin */
  GPIO_InitStruct.Pin = LCD_D0_Pin|LCD_D1_Pin|LCD_D2_Pin|LCD_D10_Pin
                          |LCD_D11_Pin|LCD_D12_Pin|LCD_D13_Pin|LCD_D14_Pin
                          |LCD_D15_Pin|LCD_D3_Pin|LCD_D4_Pin|LCD_D5_Pin
                          |LCD_D6_Pin|LCD_D7_Pin|LCD_D8_Pin|LCD_D9_Pin;
  GPIO_InitStruct.Mode = GPIO_MODE_OUTPUT_PP;
  GPIO_InitStruct.Pull = GPIO_NOPULL;
  GPIO_InitStruct.Speed = GPIO_SPEED_FREQ_HIGH;
  HAL_GPIO_Init(GPIOB, &GPIO_InitStruct);

}

void Error_Handler(void)
{
}

/************************ (C) COPYRIGHT STMicroelectronics *****END OF FILE****/
